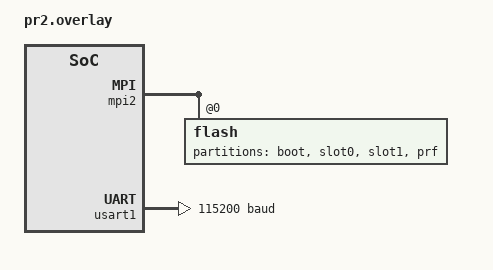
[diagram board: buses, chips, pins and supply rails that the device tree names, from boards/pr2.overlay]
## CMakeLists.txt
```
#-------------------------------------------------------------------------------
# PebbleOS bootloader
#
# Copyright (c) 2025 Core Devices LLC
# SPDX-License-Identifier: Apache-2.0

cmake_minimum_required(VERSION 3.13.1)
find_package(Zephyr REQUIRED HINTS $ENV{ZEPHYR_BASE})

project(app LANGUAGES C)

target_sources(
  app
  PRIVATE
    src/buttons.c
    src/firmware.c
    src/main.c
    src/panic.c
    src/version.c
    src/watchdog.c
)

if(CONFIG_PB_CHARGER)
  target_sources(app PRIVATE src/charger.c)
endif()

zephyr_linker_sources(SECTIONS version.ld)
```

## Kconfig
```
# Copyright (c) 2025 Core Devices LLC
# SPDX-License-Identifier: Apache-2.0

menu "Zephyr"
source "Kconfig.zephyr"
endmenu

module = PBLBOOT
module-str = pblboot
source "subsys/logging/Kconfig.template.log_config"

config PB_FLASH_READ_BUF_SIZE
	int "Flash read buffer size"
	default 512
	help
	  Size of the flash read buffer.

config PB_PRF_BUTTON_COMBO_TIME_MS
	int "PRF button combo time (ms)"
	default 5000
	help
	  Time in milliseconds that the PRF button combo must be held to trigger
	  a PRF load.

config PB_WATCHDOG_TIMEOUT_MS
	int "Watchdog timeout (ms)"
	default 10000
	help
	  Timeout in milliseconds for the watchdog timer.

config PB_CHARGER
	bool "Enable charger support"
	default y
	help
	  Enable support for the battery charger.

config PB_VBAT_MIN_BOOT_MV
	int "Minimal battery level to allow boot (mV)"
	default 3300
	depends on PB_CHARGER
	help
	  Minimal battery voltage in millivolts required to allow booting the
	  system. If watch is plugged in boot will be allowed regardless of
	  the battery voltage.
```

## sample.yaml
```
# Copyright (c) 2025 Core Devices LLC
# SPDX-License-Identifier: Apache-2.0

sample:
  description: PebbleOS bootloader
  name: pblboot
common:
  build_only: true
  integration_platforms:
    - pt2
    - pr2
tests:
  boot.default: {}
```

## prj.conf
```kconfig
# Copyright (c) 2025 Core Devices LLC
# SPDX-License-Identifier: Apache-2.0

CONFIG_BOOT_BANNER=n

CONFIG_GPIO=y
CONFIG_FLASH=y
CONFIG_SENSOR=y
CONFIG_WATCHDOG=y

CONFIG_CRC=y
CONFIG_LOG=y
CONFIG_LOG_MODE_MINIMAL=y
CONFIG_REBOOT=y

CONFIG_PB_BOOTBIT=y
CONFIG_PB_FWJUMP=y
```

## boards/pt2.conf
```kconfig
CONFIG_PB_CHARGER=n
```

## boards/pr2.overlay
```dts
/*
 * Copyright (c) 2026 Core Devices LLC
 * SPDX-License-Identifier: Apache-2.0
 */

/ {
	chosen {
		/* we are the bootloader */
		zephyr,code-partition = &boot;

		/* slots */
		pb,slot0 = &slot0;
		pb,slot1 = &slot1;
		pb,prf = &prf;

		/* buttons */
		pb,btn-back = &btn_back;
		pb,btn-up = &btn_up;
		pb,btn-center = &btn_center;
		pb,btn-down = &btn_down;

		/* charger */
		pb,charger = &npm1300_charger;

		/* watchdog */
		pb,wdt = &wdt;
	};
};

&mpi2 {
	flash@0 {
		partitions {
			/* define custom partition scheme */
			/delete-node/ code@10000;

			boot: partition@10000 {
				label = "boot";
				reg = <0x10000 DT_SIZE_K(64)>;
			};

			slot0: partition@20000 {
				label = "slot0";
				reg = <0x20000 DT_SIZE_K(3072)>;
			};

			slot1: partition@320000 {
				label = "slot1";
				reg = <0x320000 DT_SIZE_K(3072)>;
			};

			prf: partition@a20000 {
				label = "prf";
				reg = <0xa20000 DT_SIZE_K(576)>;
			};
		};
	};
};

&wdt {
	sifli,reset-all;
};

&usart1 {
	current-speed = <115200>;
};

/* disable unused peripherals that would be automatically enabled */

&i2c1 {
	status = "disabled";
};

&i2c2 {
	status = "disabled";
};

&npm1300_gpio {
	status = "disabled";
};
```

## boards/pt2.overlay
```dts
/*
 * Copyright (c) 2025 Core Devices LLC
 * SPDX-License-Identifier: Apache-2.0
 */

/ {
	chosen {
		/* we are the bootloader */
		zephyr,code-partition = &boot;

		/* slots */
		pb,slot0 = &slot0;
		pb,slot1 = &slot1;
		pb,prf = &prf;

		/* buttons */
		pb,btn-back = &btn_back;
		pb,btn-up = &btn_up;
		pb,btn-center = &btn_center;
		pb,btn-down = &btn_down;

		/* watchdog */
		pb,wdt = &wdt;
	};
};

&mpi2 {
	flash@0 {
		partitions {
			/* define custom partition scheme */
			/delete-node/ code@10000;

			boot: partition@10000 {
				label = "boot";
				reg = <0x10000 DT_SIZE_K(64)>;
			};

			slot0: partition@20000 {
				label = "slot0";
				reg = <0x20000 DT_SIZE_K(3072)>;
			};

			slot1: partition@320000 {
				label = "slot1";
				reg = <0x320000 DT_SIZE_K(3072)>;
			};

			prf: partition@a20000 {
				label = "prf";
				reg = <0xa20000 DT_SIZE_K(576)>;
			};
		};
	};
};

&wdt {
	sifli,reset-all;
};

&usart1 {
	current-speed = <115200>;
};

/* disable unused peripherals that would be automatically enabled */

/delete-node/ &npm1300;

&i2c1 {
	status = "disabled";
};

&i2c2 {
	status = "disabled";
};

&i2c3 {
	status = "disabled";
};

&i2c4 {
	status = "disabled";
};
```

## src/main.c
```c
/*
 * Copyright (c) 2025 Core Devices LLC
 * SPDX-License-Identifier: Apache-2.0
 */

#include "buttons.h"
#include "charger.h"
#include "firmware.h"
#include "panic.h"
#include "watchdog.h"

#include <inttypes.h>

#include <zephyr/logging/log.h>

#include <pb/bootbit.h>

#include <app_version.h>

LOG_MODULE_REGISTER(pblboot, CONFIG_PBLBOOT_LOG_LEVEL);

int main(void)
{
	uint8_t rst_loop_cnt;
	bool prf_requested = false;
	int ret;

	LOG_INF("PebbleOS bootloader %s", APP_VERSION_STRING);

	pb_bootbit_init();

	ret = pb_buttons_init();
	if (ret < 0) {
		LOG_ERR("Failed to initialize buttons module (err %d)", ret);
		return 0;
	}

	pb_panic_init();

	ret = pb_watchdog_init();
	if (ret < 0) {
		LOG_ERR("Failed to initialize watchdog module (err %d)", ret);
		pb_panic(PB_PANIC_REASON_INIT_FAIL);
	}

#ifdef CONFIG_PB_CHARGER
	ret = pb_charger_init();
	if (ret < 0) {
		LOG_ERR("Failed to initialize charger module (err %d)", ret);
		pb_panic(PB_PANIC_REASON_INIT_FAIL);
	}
#endif /* CONFIG_PB_CHARGER */

	ret = pb_firmware_init();
	if (ret < 0) {
		LOG_ERR("Failed to initialize firmware module (err %d)", ret);
		pb_panic(PB_PANIC_REASON_INIT_FAIL);
	}

#ifdef CONFIG_PB_CHARGER
	/* check battery/plugged in status to allow booting or not */
	if (!pb_charger_allow_boot()) {
		LOG_ERR("Boot not allowed: battery too low and plugged in");
		pb_panic(PB_PANIC_REASON_BATTERY_LOW);
	}
#endif /* CONFIG_PB_CHARGER */

	/* reset loop counter handling */
	rst_loop_cnt = pb_bootbit_reset_loop_cnt_get();
	if (rst_loop_cnt == PB_BOOTBIT_RESET_LOOP_CNT_MAX) {
		LOG_ERR("Reset loop detected");
		pb_bootbit_reset_loop_cnt_set(0U);
		pb_panic(PB_PANIC_REASON_RESET_LOOP);
	} else {
		rst_loop_cnt++;
		pb_bootbit_reset_loop_cnt_set(rst_loop_cnt);
	}

	/* firmware/PRF start failures */
	if (pb_bootbit_fw_stable_tst_and_clr()) {
		LOG_INF("Last firmware or PRF boot was stable; clear strikes");

		pb_bootbit_fw_fail_cnt_set(0U);
		pb_bootbit_prf_fail_cnt_set(0U);
	} else if (pb_bootbit_fw_fail_tst_and_clr()) {
		uint8_t cnt;

		if (pb_bootbit_prf_starting_tst_and_clr()) {
			cnt = pb_bootbit_prf_fail_cnt_get();
			LOG_ERR("PRF failure caused a reset (strikes: %" PRIu8 "/%" PRIu8 ")", cnt,
				PB_BOOTBIT_PRF_FAIL_CNT_MAX);

			if (cnt == PB_BOOTBIT_PRF_FAIL_CNT_MAX) {
				pb_bootbit_prf_fail_cnt_set(0U);
				pb_panic(PB_PANIC_REASON_PRF_UNSTABLE);
			} else {
				cnt++;
				pb_bootbit_prf_fail_cnt_set(cnt);
				prf_requested = true;
			}
		} else {
			cnt = pb_bootbit_fw_fail_cnt_get();
			LOG_ERR("Firmware failure caused a reset (strikes: %" PRIu8 "/%" PRIu8 ")",
				cnt, PB_BOOTBIT_FW_FAIL_CNT_MAX);

			if (cnt == PB_BOOTBIT_FW_FAIL_CNT_MAX) {
				pb_bootbit_fw_fail_cnt_set(0U);
				prf_requested = true;
			} else {
				cnt++;
				pb_bootbit_fw_fail_cnt_set(cnt);
			}
		}
	}

	/* prf manual requests */
	if (!prf_requested) {
		if (pb_bootbit_force_prf_tst_and_clr()) {
			LOG_INF("Forced PRF load requested");
			prf_requested = true;
		} else if (pb_buttons_prf_requested()) {
			prf_requested = true;
		}
	}

	/* one last feed */
	(void)pb_watchdog_feed();

	if (prf_requested) {
		ret = pb_firmware_load_prf();
		if (ret < 0) {
			LOG_ERR("Failed to load PRF (err %d)", ret);
			pb_panic(PB_PANIC_REASON_PRF_LOAD_FAIL(ret));
		}
	}

	/* load firmware */
	ret = pb_firmware_load();
	if (ret < 0) {
		LOG_ERR("Failed to load firmware (err %d)", ret);
		pb_panic(PB_PANIC_REASON_FW_LOAD_FAIL(ret));
	}

	return 0;
}
```

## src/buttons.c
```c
/*
 * Copyright (c) 2025 Core Devices LLC
 * SPDX-License-Identifier: Apache-2.0
 */

#include "buttons.h"

#include <errno.h>

#include <zephyr/devicetree.h>
#include <zephyr/drivers/gpio.h>
#include <zephyr/kernel.h>
#include <zephyr/logging/log.h>

LOG_MODULE_DECLARE(pblboot, CONFIG_PBLBOOT_LOG_LEVEL);

static const struct gpio_dt_spec btn_back = GPIO_DT_SPEC_GET(DT_CHOSEN(pb_btn_back), gpios);
static const struct gpio_dt_spec btn_up = GPIO_DT_SPEC_GET(DT_CHOSEN(pb_btn_up), gpios);
static const struct gpio_dt_spec btn_center = GPIO_DT_SPEC_GET(DT_CHOSEN(pb_btn_center), gpios);
static const struct gpio_dt_spec btn_down = GPIO_DT_SPEC_GET(DT_CHOSEN(pb_btn_down), gpios);

static inline bool buttons_prf_pressed(void)
{
	return (gpio_pin_get_dt(&btn_back) == 1) && (gpio_pin_get_dt(&btn_up) == 1) &&
	       (gpio_pin_get_dt(&btn_center) == 1) && (gpio_pin_get_dt(&btn_down) == 0);
}

int pb_buttons_init(void)
{
	int ret;

	if (!gpio_is_ready_dt(&btn_back) || !gpio_is_ready_dt(&btn_up) ||
	    !gpio_is_ready_dt(&btn_center) || !gpio_is_ready_dt(&btn_down)) {
		LOG_ERR("Button GPIO device/s not ready");
		return -ENODEV;
	}

	ret = gpio_pin_configure_dt(&btn_back, GPIO_INPUT);
	if (ret < 0) {
		LOG_ERR("Failed to configure back button (err %d)", ret);
		return ret;
	}

	ret = gpio_pin_configure_dt(&btn_up, GPIO_INPUT);
	if (ret < 0) {
		LOG_ERR("Failed to configure up button (err %d)", ret);
		return ret;
	}

	ret = gpio_pin_configure_dt(&btn_center, GPIO_INPUT);
	if (ret < 0) {
		LOG_ERR("Failed to configure center button (err %d)", ret);
		return ret;
	}

	ret = gpio_pin_configure_dt(&btn_down, GPIO_INPUT);
	if (ret < 0) {
		LOG_ERR("Failed to configure down button (err %d)", ret);
		return ret;
	}

	return 0;
}

bool pb_buttons_prf_requested(void)
{
	if (!buttons_prf_pressed()) {
		return false;
	}

	LOG_INF("PRF button combo detected, waiting %d ms to confirm",
		CONFIG_PB_PRF_BUTTON_COMBO_TIME_MS);

	for (unsigned int i = 0U; i < CONFIG_PB_PRF_BUTTON_COMBO_TIME_MS; i++) {
		k_msleep(1);
		if (!buttons_prf_pressed()) {
			LOG_INF("Button combo released");
			return false;
		}
	}

	return true;
}

bool pb_buttons_any_pressed(void)
{
	return (gpio_pin_get_dt(&btn_back) == 1) || (gpio_pin_get_dt(&btn_up) == 1) ||
	       (gpio_pin_get_dt(&btn_center) == 1) || (gpio_pin_get_dt(&btn_down) == 1);
}
```

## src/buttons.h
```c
/*
 * Copyright (c) 2025 Core Devices LLC
 * SPDX-License-Identifier: Apache-2.0
 */

/**
 * @file buttons.h
 * @brief Button handling interface for PB bootloader
 *
 * This module provides functions for initializing and reading button states
 * in the PB bootloader, including detection of special button combinations
 * for entering recovery mode.
 */

#ifndef BOOT_SRC_BUTTONS_H_
#define BOOT_SRC_BUTTONS_H_

#include <stdbool.h>

/**
 * @brief Initialize the buttons module
 *
 * @retval 0 on success
 * @retval -errno negative error code on failure
 */
int pb_buttons_init(void);

/**
 * @brief Check if PRF  was requested
 *
 * @retval true if PRF mode was requested
 * @retval false if PRF mode was not requested
 */
bool pb_buttons_prf_requested(void);

/**
 * @brief Check if any button is currently pressed
 *
 * @retval true if any button is pressed
 * @retval false if no buttons are pressed
 */
bool pb_buttons_any_pressed(void);

#endif /* BOOT_SRC_BUTTONS_H_ */
```

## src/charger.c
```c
/*
 * Copyright (c) 2025 Core Devices LLC
 * SPDX-License-Identifier: Apache-2.0
 */

#include "charger.h"

#include <inttypes.h>
#include <errno.h>

#include <zephyr/device.h>
#include <zephyr/devicetree.h>
#include <zephyr/drivers/sensor.h>
#include <zephyr/drivers/sensor/npm13xx_charger.h>
#include <zephyr/logging/log.h>

LOG_MODULE_DECLARE(pblboot, CONFIG_PBLBOOT_LOG_LEVEL);

static const struct device *charger = DEVICE_DT_GET(DT_CHOSEN(pb_charger));

int pb_charger_init(void)
{
	if (!device_is_ready(charger)) {
		LOG_ERR("Charger device not ready");
		return -ENODEV;
	}

	return 0;
}

bool pb_charger_allow_boot(void)
{
	struct sensor_value val;
	int ret;

	ret = sensor_sample_fetch(charger);
	if (ret < 0) {
		LOG_ERR("Failed to fetch charger sensor data (%d)", ret);
		/* fail safe: allow boot */
		return true;
	}

	ret = sensor_channel_get(charger, SENSOR_CHAN_GAUGE_VOLTAGE, &val);
	if (ret < 0) {
		LOG_ERR("Failed to get battery voltage (%d)", ret);
		/* fail safe: allow boot */
		return true;
	}

	int32_t vbat_mv = val.val1 * 1000 + val.val2 / 1000;
	if (vbat_mv >= CONFIG_PB_VBAT_MIN_BOOT_MV) {
		return true;
	} else {
		LOG_WRN("Battery voltage low: %" PRId32 " mV", vbat_mv);

#ifdef CONFIG_NPM13XX_CHARGER
		/* check if VBUS is connected, allow boot if so */
		ret = sensor_attr_get(
			charger, (enum sensor_channel)SENSOR_CHAN_NPM13XX_CHARGER_VBUS_STATUS,
			(enum sensor_attribute)SENSOR_ATTR_NPM13XX_CHARGER_VBUS_PRESENT, &val);
		if (ret < 0) {
			LOG_ERR("Failed to get VBUS status (%d)", ret);
			/* fail safe: allow boot */
			return true;
		}

		if (val.val1 != 0) {
			return true;
		}

		return false;
#else
		LOG_WRN("VBUS/charge status unavailable");
		return true;
#endif
	}
}
```

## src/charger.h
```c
/*
 * Copyright (c) 2025 Core Devices LLC
 * SPDX-License-Identifier: Apache-2.0
 */

/**
 * @file charger.h
 * @brief Charger handling interface for pblboot.
 */

#ifndef BOOT_SRC_CHARGER_H_
#define BOOT_SRC_CHARGER_H_

#include <stdbool.h>

/**
 * @brief Initialize the charger module.
 *
 * @retval 0 on success
 * @retval -errno negative error code on failure
 */
int pb_charger_init(void);

/**
 * @brief Check if boot is allowed based on battery/plugged in status.
 *
 * @see CONFIG_PB_VBAT_MIN_BOOT_MV
 *
 * @retval true if boot is allowed
 * @retval false if boot is not allowed
 */
bool pb_charger_allow_boot(void);

#endif /* BOOT_SRC_CHARGER_H_ */
```

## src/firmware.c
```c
/*
 * Copyright (c) 2025 Core Devices LLC
 * SPDX-License-Identifier: Apache-2.0
 */

#include "firmware.h"

#include <errno.h>
#include <inttypes.h>
#include <stdint.h>

#include <zephyr/device.h>
#include <zephyr/devicetree.h>
#include <zephyr/drivers/flash.h>
#include <zephyr/logging/log.h>
#include <zephyr/sys/crc.h>
#include <zephyr/sys/util.h>

#include <pb/bootbit.h>
#include <pb/fwjump.h>

LOG_MODULE_DECLARE(pblboot, CONFIG_PBLBOOT_LOG_LEVEL);

#define SLOT0_ADDR DT_REG_ADDR(DT_CHOSEN(pb_slot0))
#define SLOT1_ADDR DT_REG_ADDR(DT_CHOSEN(pb_slot1))
#define PRF_ADDR   DT_REG_ADDR(DT_CHOSEN(pb_prf))

#define PBLBOOT_MAGIC 0x96f3b83dUL

struct firmware_header {
	uint32_t magic;
	uint32_t header_length;
	uint64_t priority;
	uint32_t start_offset;
	uint32_t length;
	uint32_t crc;
} __packed;

static uint8_t buf[CONFIG_PB_FLASH_READ_BUF_SIZE];
static const struct device *flash = DEVICE_DT_GET(DT_CHOSEN(zephyr_flash_controller));

static int firmware_header_get(uint32_t address, struct firmware_header *hdr)
{
	int ret;

	ret = flash_read(flash, address, hdr, sizeof(*hdr));
	if (ret < 0) {
		LOG_ERR("Failed to read from flash (err %d)", ret);
		return ret;
	}

	if ((hdr->magic != PBLBOOT_MAGIC) || (hdr->header_length != sizeof(*hdr))) {
		return -EINVAL;
	}

	return 0;
}

static int firmware_validate(uint32_t address, const struct firmware_header *hdr)
{
	int ret;
	uint32_t pending;
	uint32_t addr;
	uint32_t crc;

	crc = crc32_ieee(NULL, 0U);
	pending = hdr->length;
	addr = address + hdr->start_offset;
	while (pending > 0U) {
		size_t len = MIN(sizeof(buf), pending);
		ret = flash_read(flash, addr, buf, len);
		if (ret < 0) {
			LOG_ERR("Failed to read from flash (err %d)", ret);
			return ret;
		}

		crc = crc32_ieee_update(crc, buf, len);

		pending -= len;
		addr += len;
	}

	if (crc != hdr->crc) {
		return -EIO;
	}

	return 0;
}

int pb_firmware_init(void)
{
	if (!device_is_ready(flash)) {
		LOG_ERR("Flash device not ready");
		return -ENODEV;
	}

	return 0;
}

int pb_firmware_load_prf(void)
{
	uint32_t prf_load_address;
	struct firmware_header hdr;
	int ret;

	ret = firmware_header_get(PRF_ADDR, &hdr);
	if (ret < 0) {
		LOG_ERR("PRF not found or invalid (err %d)", ret);
		return ret;
	}

	ret = firmware_validate(PRF_ADDR, &hdr);
	if (ret < 0) {
		LOG_ERR("PRF image is corrupted");
		return ret;
	}

	pb_bootbit_prf_starting_set();

	prf_load_address = CONFIG_FLASH_BASE_ADDRESS + PRF_ADDR + hdr.start_offset;
	LOG_INF("Loading PRF at address 0x%" PRIx32, prf_load_address);
	pb_fwjump(prf_load_address);

	return 0;
}

int pb_firmware_load(void)
{
	struct firmware_header slot0_hdr;
	struct firmware_header slot1_hdr;
	uint32_t slot0_load_address = 0U;
	uint32_t slot1_load_address = 0U;
	bool slot0_valid;
	bool slot1_valid;
	int ret;

	slot0_valid = false;
	ret = firmware_header_get(SLOT0_ADDR, &slot0_hdr);
	if (ret == 0) {
		ret = firmware_validate(SLOT0_ADDR, &slot0_hdr);
		if (ret == 0) {
			slot0_valid = true;
			slot0_load_address =
				CONFIG_FLASH_BASE_ADDRESS + SLOT0_ADDR + slot0_hdr.start_offset;
			LOG_INF("slot0 firmware valid (0x%" PRIx32 ", 0x%" PRIx64 ")",
				slot0_load_address, slot0_hdr.priority);
		}
	}

	slot1_valid = false;
	ret = firmware_header_get(SLOT1_ADDR, &slot1_hdr);
	if (ret == 0) {
		ret = firmware_validate(SLOT1_ADDR, &slot1_hdr);
		if (ret == 0) {
			slot1_valid = true;
			slot1_load_address =
				CONFIG_FLASH_BASE_ADDRESS + SLOT1_ADDR + slot1_hdr.start_offset;
			LOG_INF("slot1 firmware valid (0x%" PRIx32 ", 0x%" PRIx64 ")",
				slot1_load_address, slot1_hdr.priority);
		}
	}

	if (slot0_valid) {
		if (slot1_valid && (slot1_hdr.priority > slot0_hdr.priority)) {
			LOG_INF("Loading slot1 firmware @ 0x%" PRIx32, slot1_load_address);
			pb_fwjump(slot1_load_address);
		} else {
			LOG_INF("Loading slot0 firmware @ 0x%" PRIx32, slot0_load_address);
			pb_fwjump(slot0_load_address);
		}
	} else if (slot1_valid) {
		if (slot0_valid && (slot0_hdr.priority > slot1_hdr.priority)) {
			LOG_INF("Loading slot0 firmware @ 0x%" PRIx32, slot0_load_address);
			pb_fwjump(slot0_load_address);
		} else {
			LOG_INF("Loading slot1 firmware @ 0x%" PRIx32, slot1_load_address);
			pb_fwjump(slot1_load_address);
		}
	} else {
		LOG_ERR("No valid firmware image");
		return pb_firmware_load_prf();
	}
}
```

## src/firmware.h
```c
/*
 * Copyright (c) 2025 Core Devices LLC
 * SPDX-License-Identifier: Apache-2.0
 */

#ifndef BOOT_SRC_FIRMWARE_H_
#define BOOT_SRC_FIRMWARE_H_

/**
 * @brief Initialize the firmware module
 *
 * @retval 0 on success
 * @retval -errno negative error code on failure
 */
int pb_firmware_init(void);

/**
 * @brief Load the PRF firmware
 *
 * @retval 0 on success
 * @retval -errno negative error code on failure
 */
int pb_firmware_load_prf(void);

/**
 * @brief Load the normal firmware
 *
 * This function will load the most recent valid firmware from either slot0
 * or slot1. If neither slot contains a valid firmware image, the PRF will be
 * loaded instead.
 *
 * @retval 0 on success
 * @retval -errno negative error code on failure
 */
int pb_firmware_load(void);

#endif /* BOOT_SRC_FIRMWARE_H_ */
```

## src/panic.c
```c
/*
 * Copyright (c) 2025 Core Devices LLC
 * SPDX-License-Identifier: Apache-2.0
 */

#include "buttons.h"
#include "panic.h"
#include "watchdog.h"

#include <zephyr/kernel.h>
#include <zephyr/logging/log.h>
#include <zephyr/logging/log_ctrl.h>
#include <zephyr/sys/reboot.h>
#include <zephyr/toolchain.h>

LOG_MODULE_DECLARE(pblboot, CONFIG_PBLBOOT_LOG_LEVEL);

static bool initialized = false;

/* override Zephyr's default fatal error handler */
FUNC_NORETURN void arch_system_halt(unsigned int reason);

void k_sys_fatal_error_handler(unsigned int reason, const struct arch_esf *esf)
{
	ARG_UNUSED(esf);

	if (!initialized) {
		LOG_PANIC();
		arch_system_halt(reason);
	} else {
		pb_panic(PB_PANIC_REASON_SYSTEM(reason));
	}
}

void pb_panic_init(void)
{
	initialized = true;
}

void FUNC_NORETURN pb_panic(pb_panic_reason_t reason)
{
	LOG_ERR("System panic (0x%08x), press any button to reset", reason);

	while (1) {
		if (pb_buttons_any_pressed()) {
			LOG_INF("Resetting system due to button press");
			sys_reboot(SYS_REBOOT_COLD);
		}

		(void)pb_watchdog_feed();

		k_msleep(10);
	}
}
```

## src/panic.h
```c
/*
 * Copyright (c) 2025 Core Devices LLC
 * SPDX-License-Identifier: Apache-2.0
 */

#ifndef BOOT_SRC_PANIC_H_
#define BOOT_SRC_PANIC_H_

#include <stdint.h>

#include <zephyr/toolchain.h>

/**
 * @name PB_PANIC_REASON Panic reasons
 * @{
 */

/** Init failure */
#define PB_PANIC_REASON_INIT_FAIL          0x00000001UL
/** PRF is unstable */
#define PB_PANIC_REASON_PRF_UNSTABLE       0x00000002UL
/** Reset loop detected */
#define PB_PANIC_REASON_RESET_LOOP         0x00000003UL
/** Battery too low to boot */
#define PB_PANIC_REASON_BATTERY_LOW        0x00000004UL

/**
 * Firmware load failure
 * @param err Error code (negative errno value)
 */
#define PB_PANIC_REASON_FW_LOAD_FAIL(err)  (0x00010000UL | ((uint16_t)(-(err))))
/**
 * PRF load failure
 * @param err Error code (negative errno value)
 */
#define PB_PANIC_REASON_PRF_LOAD_FAIL(err) (0x00020000UL | ((uint16_t)(-(err))))
/**
 * System fatal error.
 *
 * @param code Fatal error reason code.
 */
#define PB_PANIC_REASON_SYSTEM(code)       (0x8000000UL | ((code) & 0x7FFFFFFUL))

/** @} */

/** Panic reason */
typedef uint32_t pb_panic_reason_t;

/**
 * @brief Initialize the panic handling system
 */
void pb_panic_init(void);

/**
 * @brief Panics the system
 */
void FUNC_NORETURN pb_panic(pb_panic_reason_t reason);

#endif /* BOOT_SRC_PANIC_H_ */
```

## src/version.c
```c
/*
 * Copyright (c) 2026 Core Devices LLC
 * SPDX-License-Identifier: Apache-2.0
 */

#include <zephyr/app_version.h>

#include <pb/version.h>

__attribute__((section(".pbversion"), used))
const struct pb_version pbversion = {
	.magic = PB_VERSION_MAGIC,
	.major = APP_VERSION_MAJOR,
	.minor = APP_VERSION_MINOR,
	.patch = APP_PATCHLEVEL,
	.tweak = APP_TWEAK,
};
```

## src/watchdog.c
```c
/*
 * Copyright (c) 2025 Core Devices LLC
 * SPDX-License-Identifier: Apache-2.0
 */

#include "watchdog.h"

#include <errno.h>

#include <zephyr/device.h>
#include <zephyr/devicetree.h>
#include <zephyr/drivers/watchdog.h>
#include <zephyr/logging/log.h>

LOG_MODULE_DECLARE(pblboot, CONFIG_PBLBOOT_LOG_LEVEL);

static const struct device *wdt = DEVICE_DT_GET(DT_CHOSEN(pb_wdt));

int pb_watchdog_init(void)
{
	int ret;
	struct wdt_timeout_cfg wdt_cfg = {
		.window.min = 0,
		.window.max = CONFIG_PB_WATCHDOG_TIMEOUT_MS,
		.callback = NULL,
		.flags = WDT_FLAG_RESET_SOC,
	};

	if (!device_is_ready(wdt)) {
		LOG_ERR("Watchdog device not ready");
		return -ENODEV;
	}

	ret = wdt_disable(wdt);
	if (ret < 0) {
		LOG_ERR("Failed to disable WDT (%d)", ret);
		return ret;
	}

	ret = wdt_install_timeout(wdt, &wdt_cfg);
	if (ret < 0) {
		LOG_ERR("Failed to install WDT timeout (%d)", ret);
		return ret;
	}

	ret = wdt_setup(wdt, 0U);
	if (ret < 0) {
		LOG_ERR("Failed to setup WDT (%d)", ret);
		return ret;
	}

	return 0;
}

int pb_watchdog_feed(void)
{
	int ret;

	ret = wdt_feed(wdt, 0U);
	if (ret < 0) {
		LOG_ERR("Failed to feed WDT (%d)", ret);
		return ret;
	}

	return 0;
}
```

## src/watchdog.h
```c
/*
 * Copyright (c) 2025 Core Devices LLC
 * SPDX-License-Identifier: Apache-2.0
 */

/**
 * @file watchdog.h
 * @brief Watchdog handling interface for pblboot.
 */

#ifndef BOOT_SRC_WATCHDOG_H_
#define BOOT_SRC_WATCHDOG_H_

/**
 * @brief Initialize the watchdog module
 *
 * This function initializes the watchdog, so periodic feeding is required
 * to prevent system reset after calling this function.
 *
 * @retval 0 on success
 * @retval -errno negative error code on failure
 */
int pb_watchdog_init(void);

/**
 * @brief Feed the watchdog.
 *
 * @retval 0 on success
 * @retval -errno negative error code on failure
 */
int pb_watchdog_feed(void);

#endif /* BOOT_SRC_WATCHDOG_H_ */
```
